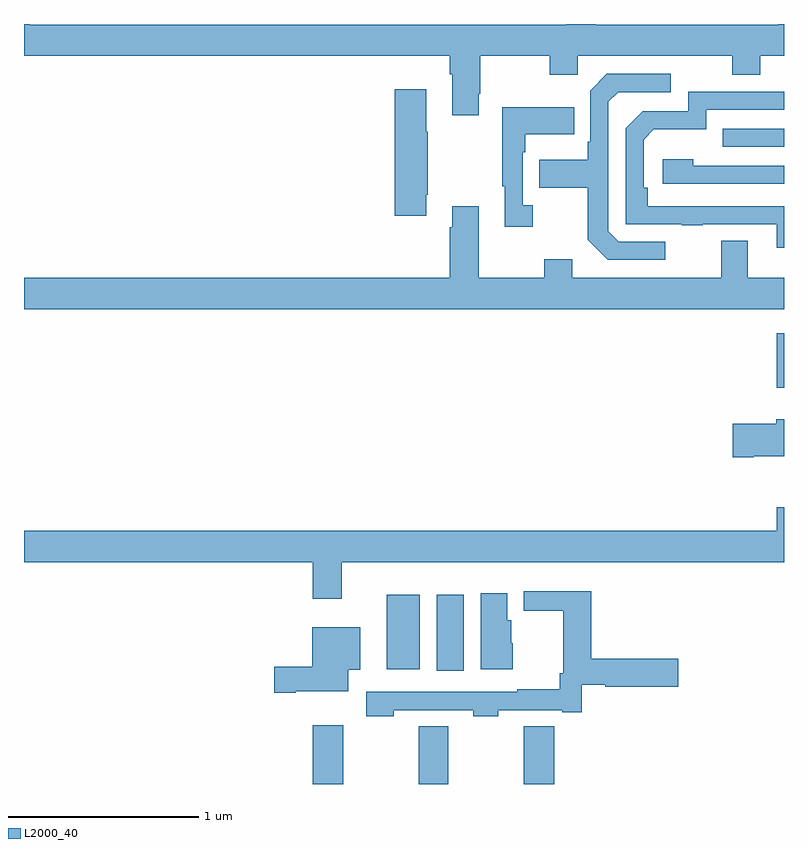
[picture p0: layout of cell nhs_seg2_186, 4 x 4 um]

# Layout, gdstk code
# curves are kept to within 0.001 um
import gdstk
lib = gdstk.Library(unit=1e-6, precision=1e-09)
def R(c, l, rs):  # rectangles x0, y0, x1, y1
    for r in rs: c.add(gdstk.rectangle(r[:2], r[2:], *l))
def P(c, l, *ps):  # polygons
    for p in ps: c.add(gdstk.Polygon(p, *l))
L2000_40 = (2000, 40)

nhs_seg2_186 = lib.new_cell('nhs_seg2_186')
R(nhs_seg2_186, L2000_40, [(120.521,647.8,120.681,648.109), (121.078,647.8,121.232,648.104), (121.63,647.8,121.79,648.104), (121.172,648.396,121.315,648.796), (120.908,648.404,121.084,648.796), (122.963,649.886,123,650.173), (122.677,651.153,123,651.249)])
P(nhs_seg2_186, L2000_40, [(121.393,651.433),(121.401,651.433),(121.401,651.632),(121.768,651.632),(121.768,651.533),(121.914,651.533),(121.914,651.632),(122.728,651.632),(122.728,651.533),(122.875,651.533),(122.875,651.632),(123,651.632),(123,651.8),(122.969,651.8),(122.969,651.796),(122.009,651.796),(122.009,651.8),(121.853,651.8),(121.853,651.796),(119.03,651.796),(119.03,651.8),(119,651.8),(119,651.632),(121.241,651.632),(121.241,651.536),(121.253,651.536),(121.253,651.321),(121.393,651.321)],
  [(122.374,650.655),(122.13,650.655),(122.076,650.709),(122.076,651.39),(122.127,651.441),(122.404,651.441),(122.404,651.537),(122.067,651.537),(121.98,651.45),(121.98,651.181),(121.968,651.181),(121.968,651.085),(121.711,651.085),(121.711,650.938),(121.968,650.938),(121.968,650.665),(122.073,650.559),(122.374,650.559)],
  [(121.117,650.902),(121.125,650.902),(121.125,651.233),(121.117,651.233),(121.117,651.457),(120.95,651.457),(120.95,650.79),(121.117,650.79)],
  [(123,650.84),(122.282,650.841),(122.282,650.938),(122.262,650.938),(122.262,651.192),(122.315,651.245),(122.592,651.245),(122.592,651.348),(123,651.348),(123,651.444),(122.496,651.444),(122.496,651.342),(122.256,651.342),(122.166,651.252),(122.166,650.745),(122.461,650.745),(122.461,650.74),(122.573,650.74),(122.573,650.745),(122.963,650.745),(122.963,650.622),(123,650.622)],
  [(121.678,650.846),(121.626,650.846),(121.626,651.125),(121.639,651.125),(121.639,651.221),(121.895,651.221),(121.895,651.361),(121.518,651.361),(121.518,650.945),(121.529,650.945),(121.529,650.733),(121.678,650.733)],
  [(123,651.054),(122.522,651.054),(122.522,651.088),(122.361,651.088),(122.361,650.958),(123,650.958)],
  [(123,650.464),(122.809,650.464),(122.809,650.659),(122.669,650.659),(122.669,650.464),(121.885,650.464),(121.885,650.563),(121.738,650.563),(121.738,650.464),(121.393,650.464),(121.393,650.842),(121.253,650.842),(121.253,650.729),(121.241,650.729),(121.241,650.464),(119,650.464),(119,650.3),(123,650.3)],
  [(122.842,649.526),(123,649.526),(123,649.72),(122.96,649.72),(122.96,649.697),(122.73,649.697),(122.73,649.519),(122.842,649.519)],
  [(120.673,648.968),(123,648.968),(123,649.256),(122.963,649.256),(122.963,649.132),(119,649.132),(119,648.968),(120.521,648.968),(120.521,648.774),(120.673,648.774)],
  [(120.945,648.189),(121.365,648.189),(121.365,648.157),(121.497,648.157),(121.497,648.189),(121.832,648.189),(121.832,648.177),(121.935,648.177),(121.935,648.323),(122.058,648.323),(122.058,648.311),(122.443,648.311),(122.443,648.458),(121.985,648.458),(121.985,648.814),(121.629,648.814),(121.629,648.712),(121.838,648.712),(121.838,648.382),(121.819,648.382),(121.819,648.298),(121.597,648.298),(121.597,648.285),(120.801,648.285),(120.801,648.157),(120.945,648.157)],
  [(121.573,648.54),(121.564,648.54),(121.564,648.663),(121.543,648.663),(121.543,648.805),(121.403,648.805),(121.403,648.404),(121.573,648.404)],
  [(120.43,648.287),(120.706,648.287),(120.706,648.401),(120.769,648.401),(120.769,648.625),(120.518,648.625),(120.518,648.417),(120.318,648.417),(120.318,648.28),(120.43,648.28)])

lib.write_gds('nhs_seg2_186.gds')
